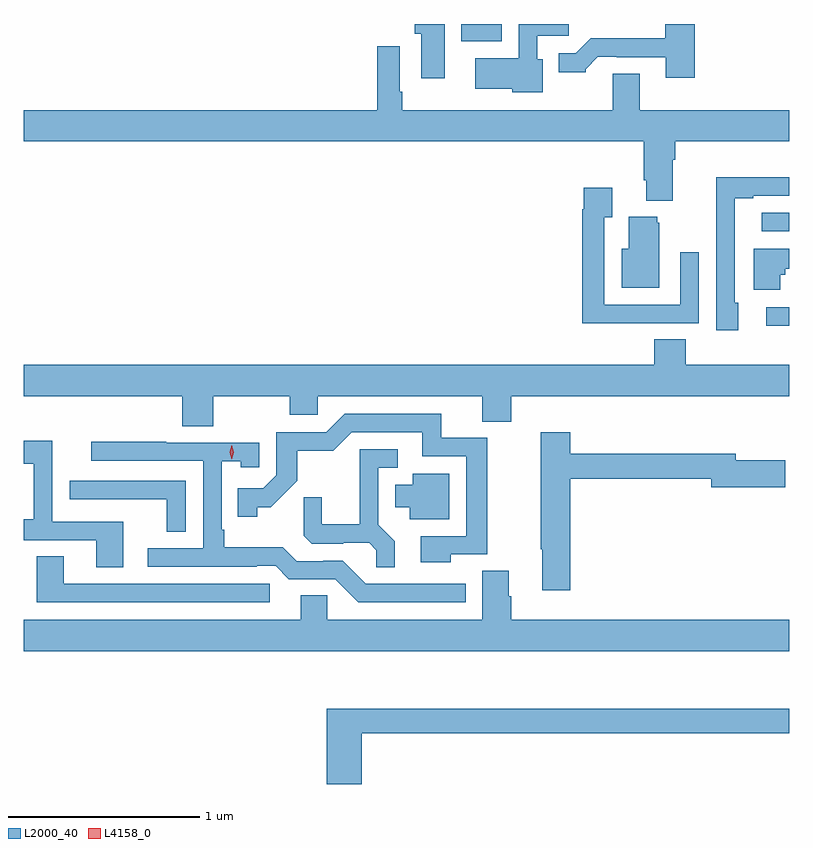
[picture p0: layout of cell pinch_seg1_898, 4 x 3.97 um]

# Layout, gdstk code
import gdstk
lib = gdstk.Library(unit=1e-6, precision=1e-09)
def R(c, l, rs):  # rectangles x0, y0, x1, y1
    for r in rs: c.add(gdstk.rectangle(r[:2], r[2:], *l))
def P(c, l, *ps):  # polygons
    for p in ps: c.add(gdstk.Polygon(p, *l))
L2000_40 = (2000, 40)
L4158_0 = (4158, 0)

pinch_seg1_898 = lib.new_cell('pinch_seg1_898')
R(pinch_seg1_898, L2000_40, [(277.743,580.073,277.862,580.17), (277.719,580.566,277.862,580.662), (276.147,581.559,276.36,581.65)])
P(pinch_seg1_898, L2000_40, [(276.574,581.466),(276.546,581.466),(276.546,581.589),(276.709,581.589),(276.709,581.65),(276.45,581.65),(276.45,581.47),(276.222,581.47),(276.222,581.312),(276.414,581.312),(276.414,581.294),(276.574,581.294)],
  [(276.061,581.65),(275.906,581.65),(275.906,581.598),(275.939,581.598),(275.939,581.367),(276.061,581.367)],
  [(277.37,581.65),(277.215,581.65),(277.215,581.575),(276.826,581.575),(276.747,581.496),(276.659,581.496),(276.659,581.399),(276.798,581.399),(276.798,581.414),(276.862,581.478),(276.961,581.478),(276.961,581.475),(277.217,581.475),(277.217,581.37),(277.37,581.37)],
  [(277.255,580.94),(277.268,580.94),(277.268,581.036),(277.862,581.036),(277.862,581.2),(277.081,581.2),(277.081,581.39),(276.941,581.39),(276.941,581.2),(275.839,581.2),(275.839,581.296),(275.826,581.296),(275.826,581.533),(275.71,581.533),(275.71,581.2),(273.862,581.2),(273.862,581.036),(277.103,581.036),(277.103,580.834),(277.115,580.834),(277.115,580.727),(277.255,580.727)],
  [(277.597,580.194),(277.578,580.194),(277.578,580.74),(277.675,580.74),(277.675,580.752),(277.862,580.752),(277.862,580.85),(277.48,580.85),(277.48,580.543),(277.482,580.543),(277.482,580.05),(277.597,580.05)],
  [(277.073,580.086),(277.389,580.086),(277.389,580.456),(277.293,580.456),(277.293,580.182),(276.897,580.182),(276.897,580.639),(276.937,580.639),(276.937,580.795),(276.789,580.795),(276.789,580.682),(276.781,580.682),(276.781,580.085),(277.073,580.085)],
  [(277.183,580.611),(277.172,580.611),(277.172,580.642),(277.025,580.642),(277.025,580.474),(276.986,580.474),(276.986,580.271),(277.183,580.271)],
  [(277.815,580.338),(277.842,580.338),(277.842,580.37),(277.862,580.37),(277.862,580.474),(277.676,580.474),(277.676,580.262),(277.815,580.262)],
  [(274.851,579.704),(275.251,579.704),(275.251,579.606),(275.397,579.606),(275.397,579.704),(276.257,579.704),(276.257,579.571),(276.41,579.571),(276.41,579.704),(277.862,579.704),(277.862,579.868),(277.322,579.868),(277.322,580.001),(277.157,580.001),(277.157,579.868),(273.862,579.868),(273.862,579.704),(274.691,579.704),(274.691,579.547),(274.851,579.547)],
  [(276.093,578.877),(276.283,578.877),(276.283,579.486),(276.044,579.486),(276.044,579.612),(275.538,579.612),(275.442,579.516),(275.181,579.516),(275.181,579.291),(275.112,579.222),(274.981,579.222),(274.981,579.075),(275.082,579.075),(275.082,579.125),(275.152,579.125),(275.29,579.262),(275.29,579.418),(275.479,579.418),(275.577,579.516),(275.945,579.516),(275.945,579.39),(276.174,579.39),(276.174,578.973),(275.937,578.973),(275.937,578.837),(276.093,578.837)],
  [(276.719,579.274),(277.454,579.274),(277.454,579.227),(277.843,579.227),(277.843,579.369),(277.582,579.369),(277.582,579.403),(276.719,579.403),(276.719,579.517),(276.565,579.517),(276.565,578.903),(276.572,578.903),(276.572,578.691),(276.719,578.691)],
  [(274.381,579.048),(274.011,579.048),(274.011,579.472),(273.862,579.472),(273.862,579.352),(273.914,579.352),(273.914,579.061),(273.862,579.061),(273.862,578.952),(274.241,578.952),(274.241,578.809),(274.381,578.809)],
  [(276.172,578.724),(275.649,578.724),(275.529,578.844),(275.428,578.844),(275.428,578.841),(275.289,578.841),(275.216,578.914),(274.909,578.914),(274.909,579.007),(274.896,579.007),(274.896,579.365),(274.995,579.365),(274.995,579.333),(275.091,579.333),(275.091,579.462),(274.607,579.462),(274.607,579.465),(274.215,579.465),(274.215,579.366),(274.8,579.366),(274.8,578.91),(274.509,578.91),(274.509,578.814),(275.078,578.814),(275.078,578.817),(275.178,578.817),(275.247,578.748),(275.49,578.748),(275.61,578.628),(276.172,578.628)],
  [(275.801,578.945),(275.715,579.031),(275.715,579.33),(275.815,579.33),(275.815,579.426),(275.618,579.426),(275.618,579.034),(275.42,579.034),(275.42,579.177),(275.326,579.177),(275.326,578.975),(275.367,578.934),(275.532,578.934),(275.532,578.937),(275.666,578.937),(275.703,578.9),(275.703,578.809),(275.801,578.809)],
  [(276.085,579.298),(275.894,579.298),(275.894,579.241),(275.804,579.241),(275.804,579.125),(275.879,579.125),(275.879,579.062),(276.085,579.062)],
  [(274.707,579.261),(274.101,579.261),(274.101,579.166),(274.213,579.166),(274.213,579.165),(274.609,579.165),(274.609,578.995),(274.707,578.995)],
  [(275.146,578.724),(274.069,578.724),(274.069,578.867),(273.929,578.867),(273.929,578.628),(275.146,578.628)],
  [(277.862,578.536),(276.41,578.536),(276.41,578.658),(276.397,578.658),(276.397,578.792),(276.257,578.792),(276.257,578.536),(275.448,578.536),(275.448,578.663),(275.309,578.663),(275.309,578.536),(273.862,578.536),(273.862,578.372),(277.862,578.372)],
  [(275.627,577.942),(277.862,577.942),(277.862,578.071),(275.444,578.071),(275.444,577.677),(275.627,577.677)])
P(pinch_seg1_898, L4158_0, [(274.948,579.375),(274.948,579.375),(274.938,579.411),(274.949,579.447),(274.949,579.447),(274.949,579.447),(274.958,579.411),(274.948,579.375)])

lib.write_gds('pinch_seg1_898.gds')
